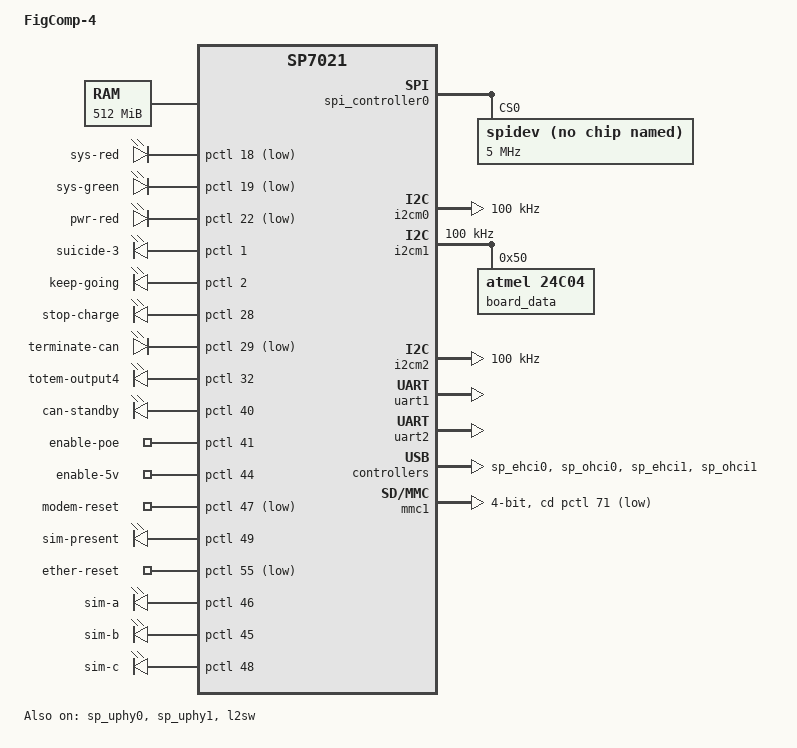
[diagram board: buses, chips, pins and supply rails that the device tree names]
// SPDX-License-Identifier: GPL-2.0
/*
 * Device tree for Figment Design Laboratories FigComp-3L
 * SEFT 2025 / Totem-3
 *
 * Copyright © Figment Design 2025.
 *
 * Ported from 5.10 vendor fdl-sp7021-84.dts to upstream 7.1.5.
 */

/dts-v1/;

#include "sunplus-sp7021-achip.dtsi"

/ {
	model = "FigComp-4";
	compatible = "sunplus,sp7021-demo-v3", "sunplus,sp7021";

	aliases {
		serial0 = &uart0;
	};

	chosen {
		bootargs = "console=ttyS0,115200 loglevel=8 root=/dev/mmcblk0p2 rw clk_ignore_unused";
		stdout-path = "serial0:115200n8";
	};

	memory@0 {
		device_type = "memory";
		reg = <0x00000000 0x20000000>; /* 512MB */
	};

	led {
		compatible = "gpio-leds";
		pinctrl-names = "default";
		pinctrl-0 = <&gpio_leds_pins>;

		nLED-SYS-R {
			label = "sys-red";
			gpios = <&pctl 18 GPIO_ACTIVE_LOW>;
			default-state = "off";
			linux,default-trigger = "cpu";
		};
		nLED-SYS-G {
			label = "sys-green";
			gpios = <&pctl 19 GPIO_ACTIVE_LOW>;
			default-state = "off";
			linux,default-trigger = "heartbeat";
		};
		nLED-PWR-R {
			label = "pwr-red";
			gpios = <&pctl 22 GPIO_ACTIVE_LOW>;
			default-state = "off";
		};

		Suicide3 {
			label = "suicide-3";
			gpios = <&pctl 1 GPIO_ACTIVE_HIGH>;
			default-state = "off";
		};
		keepGoing {
			label = "keep-going";
			gpios = <&pctl 2 GPIO_ACTIVE_HIGH>;
			default-state = "on";
		};
		stopCharge {
			label = "stop-charge";
			gpios = <&pctl 28 GPIO_ACTIVE_HIGH>;
			default-state = "off";
		};
		CANterm {
			label = "terminate-can";
			gpios = <&pctl 29 GPIO_ACTIVE_LOW>;
			default-state = "on";
		};
		Totem-output4 {
			label = "totem-output4";
			gpios = <&pctl 32 GPIO_ACTIVE_HIGH>;
			default-state = "off";
		};
		CANstandby {
			label = "can-standby";
			gpios = <&pctl 40 GPIO_ACTIVE_HIGH>;
			default-state = "off";
		};
		POE-ON {
			label = "enable-poe";
			gpios = <&pctl 41 GPIO_ACTIVE_HIGH>;
			default-state = "on";
		};
		Enb_5V {
			label = "enable-5v";
			gpios = <&pctl 44 GPIO_ACTIVE_HIGH>;
			default-state = "off";
		};
		nModemRst {
			label = "modem-reset";
			gpios = <&pctl 47 GPIO_ACTIVE_LOW>;
			default-state = "on";
		};
		SCSIMCtl {
			label = "sim-present";
			gpios = <&pctl 49 GPIO_ACTIVE_HIGH>;
			default-state = "off";
		};
		nEthRst {
			label = "ether-reset";
			gpios = <&pctl 55 GPIO_ACTIVE_LOW>;
			default-state = "off";
		};
		nSIM-A {
			label = "sim-a";
			gpios = <&pctl 46 GPIO_ACTIVE_HIGH>;
			default-state = "on";
		};
		nSIM-B {
			label = "sim-b";
			gpios = <&pctl 45 GPIO_ACTIVE_HIGH>;
			default-state = "off";
		};
		nSIM-C {
			label = "sim-c";
			gpios = <&pctl 48 GPIO_ACTIVE_HIGH>;
			default-state = "on";
		};
	};
};

&spi_controller0 {
	pinctrl-names = "default";
	pinctrl-0 = <&pins_spim0>;
	status = "okay";
	#address-cells = <1>;
	#size-cells = <0>;

	spidev@0 {
		compatible = "rohm,dh2228fv";
		spi-max-frequency = <5000000>;
		reg = <0>;
	};
};

&spi_controller1 {
	status = "disabled";
};

&spi_controller2 {
	status = "disabled";
};

&spi_controller3 {
	status = "disabled";
};

&i2cm0 {
	pinctrl-names = "default";
	pinctrl-0 = <&i2cm0_pins>;
	clock-frequency = <100000>;
	status = "okay";
};

&i2cm1 {
	pinctrl-names = "default";
	pinctrl-0 = <&i2cm1_pins>;
	clock-frequency = <100000>;
	status = "okay";
	#address-cells = <1>;
	#size-cells = <0>;

	board_data: eeprom@50 {
		compatible = "atmel,24c04";
		reg = <0x50>;
	};
};

&i2cm2 {
	pinctrl-names = "default";
	pinctrl-0 = <&i2cm2_pins>;
	clock-frequency = <100000>;
	status = "okay";
};

&i2cm3 {
	status = "disabled";
};

&uart1 {
	pinctrl-names = "default";
	pinctrl-0 = <&pins_uart1>;
	status = "okay";
};

&uart2 {
	pinctrl-names = "default";
	pinctrl-0 = <&pins_uart2>;
	status = "okay";
};

&uart3 {
	status = "disabled";
};

&uart4 {
	status = "disabled";
};

&sp_uphy0 {
	pinctrl-names = "default";
	pinctrl-0 = <&pins_vbus_usb0>;
	status = "okay";
};

&sp_uphy1 {
	pinctrl-names = "default";
	pinctrl-0 = <&pins_vbus_usb1>;
	status = "okay";
};

&sp_ehci0 {
	status = "okay";
};

&sp_ohci0 {
	status = "okay";
};

&sp_ehci1 {
	status = "okay";
};

&sp_ohci1 {
	status = "okay";
};

&l2sw {
	pinctrl-names = "default";
	pinctrl-0 = <&l2sw_figcomp3_pins>;
	status = "okay";

	ethernet-ports {
		#address-cells = <1>;
		#size-cells = <0>;

		port@0 {
			reg = <0>;
			phy-mode = "rmii";
			nvmem-cells = <&mac_addr0>;
			nvmem-cell-names = "mac-address";
			fixed-link {
				speed = <100>;
				full-duplex;
			};
		};
	};

	mdio {
		#address-cells = <1>;
		#size-cells = <0>;
		/* No PHY entries: port 0 is MAC-to-MAC via RMII */
	};
};

&mmc0 {
	status = "disabled";
};

&mmc1 {
	pinctrl-names = "default";
	pinctrl-0 = <&sdcard_pins &figcomp_mmc1_cd_pins>;
	cd-gpios = <&pctl 71 GPIO_ACTIVE_LOW>;
	bus-width = <4>;
	max-frequency = <52000000>;
	disable-wp;
	cap-sd-highspeed;
	no-sdio;
	no-mmc;
	status = "okay";
};

&rtc {
	charging-mode = <0xE>;
};

&pctl {
	pinctrl-names = "default";
	pinctrl-0 = <&pins_gpio_nobinded &func_zero>;

	pins_gpio_nobinded: pinmux_gpio_nobinded-pins {
		sunplus,pins = <
			SPPCTL_IOPAD(24, SPPCTL_PCTL_G_GPIO, 0, SPPCTL_PCTL_L_OUT)
			SPPCTL_IOPAD(25, SPPCTL_PCTL_G_GPIO, 0, SPPCTL_PCTL_L_OUT)
			SPPCTL_IOPAD(26, SPPCTL_PCTL_G_GPIO, 0, SPPCTL_PCTL_L_OUT)
			SPPCTL_IOPAD(31, SPPCTL_PCTL_G_GPIO, 0, SPPCTL_PCTL_L_OUT)
			SPPCTL_IOPAD(32, SPPCTL_PCTL_G_GPIO, 0, SPPCTL_PCTL_L_OUT)
			SPPCTL_IOPAD(33, SPPCTL_PCTL_G_GPIO, 0, SPPCTL_PCTL_L_OUT)
			SPPCTL_IOPAD(35, SPPCTL_PCTL_G_GPIO, 0, SPPCTL_PCTL_L_OUT)
			SPPCTL_IOPAD(82, SPPCTL_PCTL_G_GPIO, 0, SPPCTL_PCTL_L_OUT)
			SPPCTL_IOPAD(84, SPPCTL_PCTL_G_GPIO, 0, SPPCTL_PCTL_L_OUT)
			SPPCTL_IOPAD(85, SPPCTL_PCTL_G_GPIO, 0, SPPCTL_PCTL_L_OUT)
			SPPCTL_IOPAD(86, SPPCTL_PCTL_G_GPIO, 0, SPPCTL_PCTL_L_OUT)
			SPPCTL_IOPAD(87, SPPCTL_PCTL_G_GPIO, 0, SPPCTL_PCTL_L_OUT)
		>;
	};

	func_zero: pinmux_func_zero-pins {
		sunplus,zerofunc = <
			MUXF_L2SW_LED_FLASH0
			MUXF_L2SW_LED_ON0
			MUXF_L2SW_LED_FLASH1
			MUXF_L2SW_LED_ON1
			MUXF_L2SW_P1_MAC_RMII_TXEN
			MUXF_L2SW_P1_MAC_RMII_TXD0
			MUXF_L2SW_P1_MAC_RMII_TXD1
			MUXF_L2SW_P1_MAC_RMII_CRSDV
			MUXF_L2SW_P1_MAC_RMII_RXD0
			MUXF_L2SW_P1_MAC_RMII_RXD1
			MUXF_L2SW_P1_MAC_RMII_RXER
			MUXF_DAISY_MODE
			MUXF_L2SW_P0_MAC_RMII_RXER
			GROP_SPI_FLASH
			GROP_SPI_FLASH_4BIT
			GROP_SPI_NAND
			GROP_CARD0_EMMC
		>;
	};

	i2cm0_pins: pinmux_i2cm0-pins {
		sunplus,pins = <
			SPPCTL_IOPAD(51, SPPCTL_PCTL_G_PMUX, MUXF_I2CM0_DAT, 0)
			SPPCTL_IOPAD(52, SPPCTL_PCTL_G_PMUX, MUXF_I2CM0_CLK, 0)
		>;
	};

	i2cm1_pins: pinmux_i2cm1-pins {
		sunplus,pins = <
			SPPCTL_IOPAD(39, SPPCTL_PCTL_G_PMUX, MUXF_I2CM1_DAT, 0)
			SPPCTL_IOPAD(38, SPPCTL_PCTL_G_PMUX, MUXF_I2CM1_CLK, 0)
		>;
	};

	i2cm2_pins: pinmux_i2cm2-pins {
		sunplus,pins = <
			SPPCTL_IOPAD(8, SPPCTL_PCTL_G_PMUX, MUXF_I2CM2_DAT, 0)
			SPPCTL_IOPAD(9, SPPCTL_PCTL_G_PMUX, MUXF_I2CM2_CLK, 0)
		>;
	};

	l2sw_figcomp3_pins: pinmux_l2sw_figcomp3-pins {
		sunplus,pins = <
			SPPCTL_IOPAD(63, SPPCTL_PCTL_G_PMUX, MUXF_L2SW_CLK_OUT, 0)
			SPPCTL_IOPAD(50, SPPCTL_PCTL_G_PMUX, MUXF_L2SW_MAC_SMI_MDC, 0)
			SPPCTL_IOPAD(64, SPPCTL_PCTL_G_PMUX, MUXF_L2SW_MAC_SMI_MDIO, 0)
			SPPCTL_IOPAD(62, SPPCTL_PCTL_G_PMUX, MUXF_L2SW_P0_MAC_RMII_TXEN, 0)
			SPPCTL_IOPAD(61, SPPCTL_PCTL_G_PMUX, MUXF_L2SW_P0_MAC_RMII_TXD0, 0)
			SPPCTL_IOPAD(60, SPPCTL_PCTL_G_PMUX, MUXF_L2SW_P0_MAC_RMII_TXD1, 0)
			SPPCTL_IOPAD(59, SPPCTL_PCTL_G_PMUX, MUXF_L2SW_P0_MAC_RMII_CRSDV, 0)
			SPPCTL_IOPAD(58, SPPCTL_PCTL_G_PMUX, MUXF_L2SW_P0_MAC_RMII_RXD0, 0)
			SPPCTL_IOPAD(57, SPPCTL_PCTL_G_PMUX, MUXF_L2SW_P0_MAC_RMII_RXD1, 0)
		>;
	};

	pins_vbus_usb0: pinmux_vbus_usb0-pins {
		sunplus,pins = < SPPCTL_IOPAD(90, SPPCTL_PCTL_G_GPIO, 0, SPPCTL_PCTL_L_OU1) >;
	};

	pins_vbus_usb1: pinmux_vbus_usb1-pins {
		sunplus,pins = < SPPCTL_IOPAD(91, SPPCTL_PCTL_G_GPIO, 0, SPPCTL_PCTL_L_OU1) >;
	};

	figcomp_mmc1_cd_pins: pinmux-mmc1-cd-pins {
		sunplus,pins = < SPPCTL_IOPAD(71, SPPCTL_PCTL_G_GPIO, 0, 0) >;
	};

	gpio_leds_pins: pinmux_gpio_leds-pins {
		sunplus,pins = <
			SPPCTL_IOPAD(1,  SPPCTL_PCTL_G_GPIO, 0, SPPCTL_PCTL_L_OUT)
			SPPCTL_IOPAD(2,  SPPCTL_PCTL_G_GPIO, 0, SPPCTL_PCTL_L_OUT)
			SPPCTL_IOPAD(18, SPPCTL_PCTL_G_GPIO, 0, SPPCTL_PCTL_L_OUT)
			SPPCTL_IOPAD(19, SPPCTL_PCTL_G_GPIO, 0, SPPCTL_PCTL_L_OUT)
			SPPCTL_IOPAD(22, SPPCTL_PCTL_G_GPIO, 0, SPPCTL_PCTL_L_OUT)
			SPPCTL_IOPAD(28, SPPCTL_PCTL_G_GPIO, 0, SPPCTL_PCTL_L_OUT)
			SPPCTL_IOPAD(29, SPPCTL_PCTL_G_GPIO, 0, SPPCTL_PCTL_L_OUT)
			SPPCTL_IOPAD(32, SPPCTL_PCTL_G_GPIO, 0, SPPCTL_PCTL_L_OUT)
			SPPCTL_IOPAD(35, SPPCTL_PCTL_G_GPIO, 0, SPPCTL_PCTL_L_OUT)
			SPPCTL_IOPAD(40, SPPCTL_PCTL_G_GPIO, 0, SPPCTL_PCTL_L_OUT)
			SPPCTL_IOPAD(41, SPPCTL_PCTL_G_GPIO, 0, SPPCTL_PCTL_L_OUT)
			SPPCTL_IOPAD(44, SPPCTL_PCTL_G_GPIO, 0, SPPCTL_PCTL_L_OUT)
			SPPCTL_IOPAD(45, SPPCTL_PCTL_G_GPIO, 0, SPPCTL_PCTL_L_OUT)
			SPPCTL_IOPAD(46, SPPCTL_PCTL_G_GPIO, 0, SPPCTL_PCTL_L_OUT)
			SPPCTL_IOPAD(47, SPPCTL_PCTL_G_GPIO, 0, SPPCTL_PCTL_L_OUT)
			SPPCTL_IOPAD(48, SPPCTL_PCTL_G_GPIO, 0, SPPCTL_PCTL_L_OUT)
			SPPCTL_IOPAD(49, SPPCTL_PCTL_G_GPIO, 0, SPPCTL_PCTL_L_OUT)
			SPPCTL_IOPAD(55, SPPCTL_PCTL_G_GPIO, 0, SPPCTL_PCTL_L_OUT)
		>;
	};

	pins_uart1: pinmux_uart1-pins {
		sunplus,pins = <
			SPPCTL_IOPAD(14, SPPCTL_PCTL_G_PMUX, MUXF_UA1_TX, 0)
			SPPCTL_IOPAD(13, SPPCTL_PCTL_G_PMUX, MUXF_UA1_RX, 0)
			SPPCTL_IOPAD(17, SPPCTL_PCTL_G_PMUX, MUXF_UA1_RTS, 0)
			SPPCTL_IOPAD(12, SPPCTL_PCTL_G_PMUX, MUXF_UA1_CTS, 0)
		>;
	};

	pins_uart2: pinmux_uart2-pins {
		sunplus,pins = <
			SPPCTL_IOPAD(36, SPPCTL_PCTL_G_PMUX, MUXF_UA2_TX, 0)
			SPPCTL_IOPAD(37, SPPCTL_PCTL_G_PMUX, MUXF_UA2_RX, 0)
		>;
	};

	pins_spim0: pinmux_spim0-pins {
		sunplus,pins = <
			SPPCTL_IOPAD(21, SPPCTL_PCTL_G_PMUX, MUXF_SPIM0_CLK, 0)
			SPPCTL_IOPAD(20, SPPCTL_PCTL_G_PMUX, MUXF_SPIM0_DO, 0)
			SPPCTL_IOPAD(27, SPPCTL_PCTL_G_PMUX, MUXF_SPIM0_DI, 0)
		>;
	};
};
